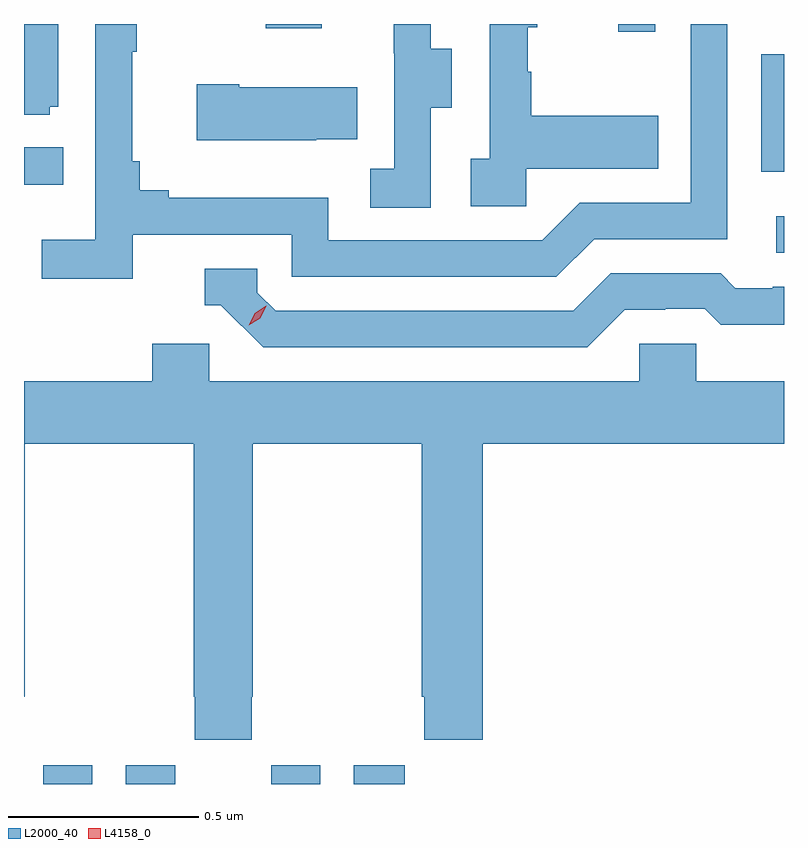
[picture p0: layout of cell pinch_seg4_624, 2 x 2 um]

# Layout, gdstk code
import gdstk
lib = gdstk.Library(unit=1e-6, precision=1e-09)
def R(c, l, rs):  # rectangles x0, y0, x1, y1
    for r in rs: c.add(gdstk.rectangle(r[:2], r[2:], *l))
def P(c, l, *ps):  # polygons
    for p in ps: c.add(gdstk.Polygon(p, *l))
L2000_40 = (2000, 40)
L4158_0 = (4158, 0)

pinch_seg4_624 = lib.new_cell('pinch_seg4_624')
R(pinch_seg4_624, L2000_40, [(1069.89,769.284,1070.02,769.333), (1070.108,769.284,1070.238,769.333), (1070.49,769.284,1070.62,769.333), (1070.708,769.284,1070.842,769.333), (1071.819,770.682,1071.84,770.778), (1069.84,770.861,1069.943,770.96), (1071.78,770.895,1071.84,771.204), (1071.404,771.264,1071.501,771.284), (1070.476,771.273,1070.623,771.284)])
P(pinch_seg4_624, L2000_40, [(1070.126,770.73),(1070.544,770.73),(1070.544,770.619),(1071.241,770.619),(1071.34,770.718),(1071.69,770.718),(1071.69,771.284),(1071.594,771.284),(1071.594,770.814),(1071.303,770.814),(1071.204,770.715),(1070.64,770.715),(1070.64,770.827),(1070.221,770.827),(1070.221,770.846),(1070.144,770.846),(1070.144,770.923),(1070.125,770.923),(1070.125,771.211),(1070.137,771.211),(1070.137,771.284),(1070.028,771.284),(1070.028,770.716),(1069.887,770.716),(1069.887,770.614),(1070.126,770.614)],
  [(1071.162,770.903),(1071.509,770.903),(1071.509,771.043),(1071.175,771.043),(1071.175,771.158),(1071.165,771.158),(1071.165,771.276),(1071.19,771.276),(1071.19,771.284),(1071.066,771.284),(1071.066,770.93),(1071.015,770.93),(1071.015,770.805),(1071.162,770.805)],
  [(1070.91,771.064),(1070.965,771.064),(1070.965,771.219),(1070.911,771.219),(1070.911,771.284),(1070.813,771.284),(1070.813,771.207),(1070.814,771.207),(1070.814,770.903),(1070.751,770.903),(1070.751,770.8),(1070.91,770.8)],
  [(1069.908,771.066),(1069.93,771.066),(1069.93,771.284),(1069.84,771.284),(1069.84,771.045),(1069.908,771.045)],
  [(1070.609,770.981),(1070.717,770.981),(1070.717,771.118),(1070.407,771.118),(1070.407,771.126),(1070.295,771.126),(1070.295,770.978),(1070.609,770.978)],
  [(1071.421,770.532),(1071.528,770.532),(1071.528,770.535),(1071.631,770.535),(1071.673,770.493),(1071.84,770.493),(1071.84,770.592),(1071.811,770.592),(1071.811,770.589),(1071.712,770.589),(1071.673,770.628),(1071.384,770.628),(1071.285,770.529),(1070.502,770.529),(1070.454,770.577),(1070.454,770.64),(1070.315,770.64),(1070.315,770.544),(1070.358,770.544),(1070.469,770.433),(1071.322,770.433)],
  [(1070.439,769.513),(1070.442,769.513),(1070.442,770.18),(1070.887,770.18),(1070.887,769.513),(1070.893,769.513),(1070.893,769.401),(1071.047,769.401),(1071.047,770.18),(1071.84,770.18),(1071.84,770.344),(1071.609,770.344),(1071.609,770.442),(1071.459,770.442),(1071.459,770.344),(1070.328,770.344),(1070.328,770.442),(1070.177,770.442),(1070.177,770.344),(1069.84,770.344),(1069.84,769.513),(1069.842,769.513),(1069.842,770.18),(1070.287,770.18),(1070.287,769.513),(1070.289,769.513),(1070.289,769.401),(1070.439,769.401)])
P(pinch_seg4_624, L4158_0, [(1070.431,770.491),(1070.431,770.491),(1070.447,770.523),(1070.478,770.542),(1070.478,770.542),(1070.478,770.542),(1070.462,770.51),(1070.431,770.491)])

lib.write_gds('pinch_seg4_624.gds')
